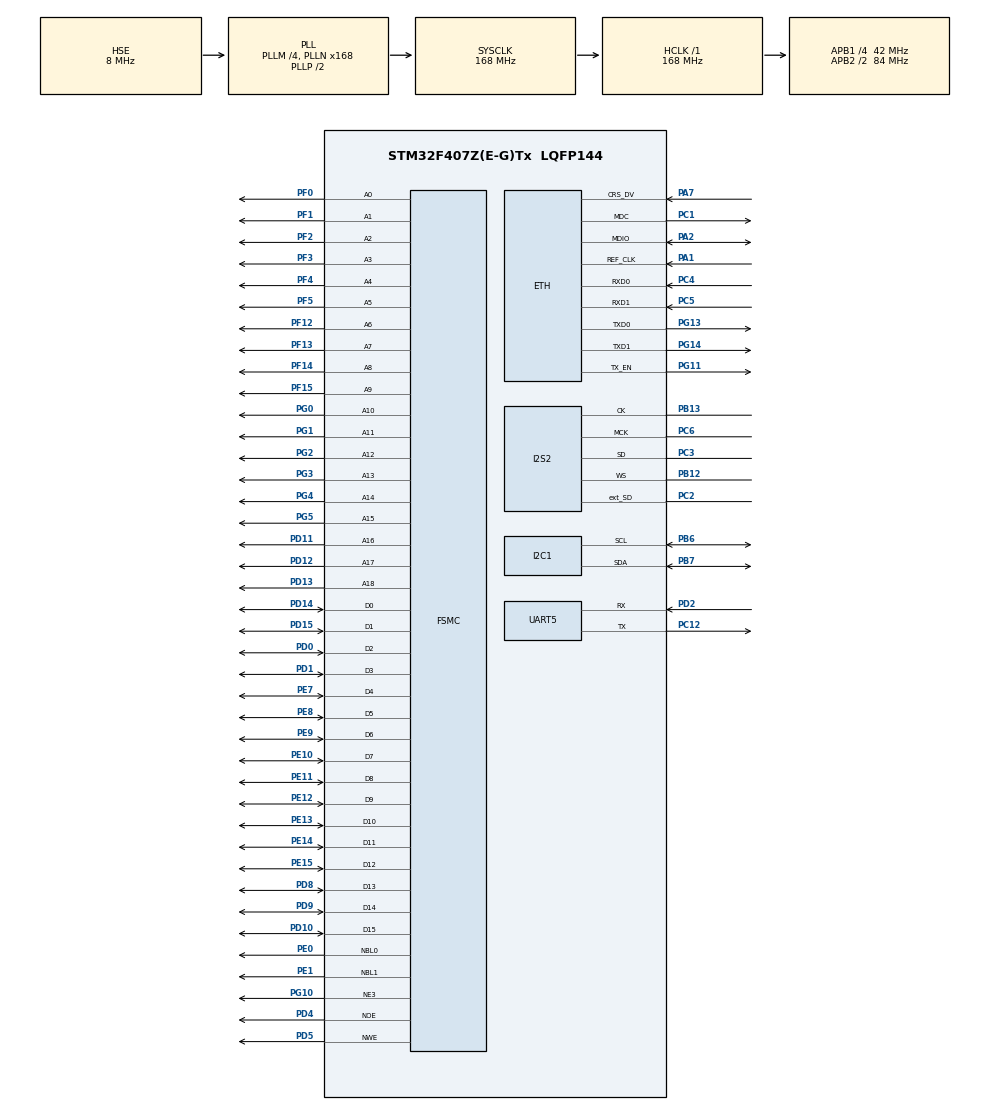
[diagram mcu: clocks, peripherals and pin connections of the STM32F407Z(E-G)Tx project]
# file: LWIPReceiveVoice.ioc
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Dma.Request0=SPI2_TX
Dma.SPI2_TX.0.Direction=DMA_MEMORY_TO_PERIPH
Dma.SPI2_TX.0.FIFOMode=DMA_FIFOMODE_ENABLE
Dma.SPI2_TX.0.FIFOThreshold=DMA_FIFO_THRESHOLD_FULL
Dma.SPI2_TX.0.Instance=DMA1_Stream4
Dma.SPI2_TX.0.MemBurst=DMA_MBURST_SINGLE
Dma.SPI2_TX.0.MemDataAlignment=DMA_MDATAALIGN_HALFWORD
Dma.SPI2_TX.0.MemInc=DMA_MINC_ENABLE
Dma.SPI2_TX.0.Mode=DMA_NORMAL
Dma.SPI2_TX.0.PeriphBurst=DMA_PBURST_SINGLE
Dma.SPI2_TX.0.PeriphDataAlignment=DMA_PDATAALIGN_HALFWORD
Dma.SPI2_TX.0.PeriphInc=DMA_PINC_DISABLE
Dma.SPI2_TX.0.Priority=DMA_PRIORITY_LOW
ETH.MediaInterface=ETH_MEDIA_INTERFACE_RMII
ETH.PHY_Name_RMII=DP83848_PHY_ADDRESS
FSMC.AddressSetupTime3=1
FSMC.BusTurnAroundDuration3=0
FSMC.DataSetupTime3=7
FSMC.WriteOperation3=FSMC_WRITE_OPERATION_ENABLE
I2S2.AudioFreq=I2S_AUDIOFREQ_16K
I2S2.ErrorAudioFreq=-0.26 %
I2S2.FullDuplexMode=I2S_FULLDUPLEXMODE_ENABLE
I2S2.Instance=SPI$Index
I2S2.RealAudioFreq=15.957 KHz
I2S2.VirtualMode=I2S_MODE_MASTER
LWIP.GATEWAY_ADDRESS=192.168.001.001
LWIP.IP_ADDRESS=192.168.001.200
LWIP.LWIP_DHCP=0
LWIP.MEMP_NUM_PBUF=50
LWIP.MEMP_NUM_TCP_SEG=1000
LWIP.MEM_SIZE=20*1024
LWIP.NETMASK_ADDRESS=255.255.255.000
LWIP.PBUF_POOL_BUFSIZE=1024
LWIP.TCP_MSS=1024
LWIP.TCP_SND_BUF=10240
LWIP.TCP_SND_QUEUELEN=1000
LWIP.TCP_WND=4096
LWIP.Version=v2.1.2_Cube
Mcu.Family=STM32F4
Mcu.Name=STM32F407Z(E-G)Tx
Mcu.Package=LQFP144
NVIC.DMA1_Stream4_IRQn=true\:2\:0\:true\:false\:true\:false\:true
NVIC.ETH_IRQn=true\:1\:0\:true\:false\:true\:true\:true
NVIC.PriorityGroup=NVIC_PRIORITYGROUP_4
PA1.Mode=RMII
PA1.Signal=ETH_REF_CLK
PA2.Mode=RMII
PA2.Signal=ETH_MDIO
PA7.Mode=RMII
PA7.Signal=ETH_CRS_DV
PB12.Mode=Full_Duplex_Master
PB12.Signal=I2S2_WS
PB13.Mode=Full_Duplex_Master
PB13.Signal=I2S2_CK
PB6.GPIO_Pu=GPIO_PULLUP
PB6.Mode=I2C
PB6.Signal=I2C1_SCL
PB7.GPIO_Pu=GPIO_PULLUP
PB7.Mode=I2C
PB7.Signal=I2C1_SDA
PC1.Mode=RMII
PC1.Signal=ETH_MDC
PC12.Mode=Asynchronous
PC12.Signal=UART5_TX
PC2.Mode=Full_Duplex_Master
PC2.Signal=I2S2_ext_SD
PC3.Mode=Full_Duplex_Master
PC3.Signal=I2S2_SD
PC4.Mode=RMII
PC4.Signal=ETH_RXD0
PC5.Mode=RMII
PC5.Signal=ETH_RXD1
PC6.Mode=Master_Clock_Activated
PC6.Signal=I2S2_MCK
PD0.Signal=FSMC_D2_DA2
PD1.Signal=FSMC_D3_DA3
PD10.Signal=FSMC_D15_DA15
PD11.Signal=FSMC_A16_CLE
PD12.Signal=FSMC_A17_ALE
PD13.Signal=FSMC_A18
PD14.Signal=FSMC_D0_DA0
PD15.Signal=FSMC_D1_DA1
PD2.Mode=Asynchronous
PD2.Signal=UART5_RX
PD4.Signal=FSMC_NOE
PD5.Signal=FSMC_NWE
PD8.Signal=FSMC_D13_DA13
PD9.Signal=FSMC_D14_DA14
PE0.Signal=FSMC_NBL0
PE1.Signal=FSMC_NBL1
PE10.Signal=FSMC_D7_DA7
PE11.Signal=FSMC_D8_DA8
PE12.Signal=FSMC_D9_DA9
PE13.Signal=FSMC_D10_DA10
PE14.Signal=FSMC_D11_DA11
PE15.Signal=FSMC_D12_DA12
PE7.Signal=FSMC_D4_DA4
PE8.Signal=FSMC_D5_DA5
PE9.Signal=FSMC_D6_DA6
PF0.Signal=FSMC_A0
PF1.Signal=FSMC_A1
PF12.Signal=FSMC_A6
PF13.Signal=FSMC_A7
PF14.Signal=FSMC_A8
PF15.Signal=FSMC_A9
PF2.Signal=FSMC_A2
PF3.Signal=FSMC_A3
PF4.Signal=FSMC_A4
PF5.Signal=FSMC_A5
PG0.Signal=FSMC_A10
PG1.Signal=FSMC_A11
PG10.Mode=NorPsramChipSelect3_3
PG10.Signal=FSMC_NE3
PG11.Mode=RMII
PG11.Signal=ETH_TX_EN
PG13.Mode=RMII
PG13.Signal=ETH_TXD0
PG14.Mode=RMII
PG14.Signal=ETH_TXD1
PG2.Signal=FSMC_A12
PG3.Signal=FSMC_A13
PG4.Signal=FSMC_A14
PG5.Signal=FSMC_A15
PH0-OSC_IN.Mode=HSE-External-Oscillator
PH0-OSC_IN.Signal=RCC_OSC_IN
PH1-OSC_OUT.Mode=HSE-External-Oscillator
PH1-OSC_OUT.Signal=RCC_OSC_OUT
ProjectManager.HeapSize=0x700
ProjectManager.StackSize=0x700
ProjectManager.TargetToolchain=STM32CubeIDE
RCC.48MHZClocksFreq_Value=48000000
RCC.AHBFreq_Value=168000000
RCC.APB1CLKDivider=RCC_HCLK_DIV4
RCC.APB1Freq_Value=42000000
RCC.APB1TimFreq_Value=84000000
RCC.APB2CLKDivider=RCC_HCLK_DIV2
RCC.APB2Freq_Value=84000000
RCC.APB2TimFreq_Value=168000000
RCC.CortexFreq_Value=168000000
RCC.HCLKFreq_Value=168000000
RCC.HSE_VALUE=8000000
RCC.HSI_VALUE=16000000
RCC.LSE_VALUE=32768
RCC.PLLM=4
RCC.PLLN=168
RCC.PLLQ=7
RCC.PLLSourceVirtual=RCC_PLLSOURCE_HSE
RCC.SYSCLKFreq_VALUE=168000000
RCC.SYSCLKSource=RCC_SYSCLKSOURCE_PLLCLK
RCC.VCOOutputFreq_Value=336000000
SH.FSMC_A0.0=FSMC_A0,19b-a3
SH.FSMC_A1.0=FSMC_A1,19b-a3
SH.FSMC_A10.0=FSMC_A10,19b-a3
SH.FSMC_A11.0=FSMC_A11,19b-a3
SH.FSMC_A12.0=FSMC_A12,19b-a3
SH.FSMC_A13.0=FSMC_A13,19b-a3
SH.FSMC_A14.0=FSMC_A14,19b-a3
SH.FSMC_A15.0=FSMC_A15,19b-a3
SH.FSMC_A16_CLE.0=FSMC_A16,19b-a3
SH.FSMC_A17_ALE.0=FSMC_A17,19b-a3
SH.FSMC_A18.0=FSMC_A18,19b-a3
SH.FSMC_A2.0=FSMC_A2,19b-a3
SH.FSMC_A3.0=FSMC_A3,19b-a3
SH.FSMC_A4.0=FSMC_A4,19b-a3
SH.FSMC_A5.0=FSMC_A5,19b-a3
SH.FSMC_A6.0=FSMC_A6,19b-a3
SH.FSMC_A7.0=FSMC_A7,19b-a3
SH.FSMC_A8.0=FSMC_A8,19b-a3
SH.FSMC_A9.0=FSMC_A9,19b-a3
SH.FSMC_D0_DA0.0=FSMC_D0,16b-d3
SH.FSMC_D10_DA10.0=FSMC_D10,16b-d3
SH.FSMC_D11_DA11.0=FSMC_D11,16b-d3
SH.FSMC_D12_DA12.0=FSMC_D12,16b-d3
SH.FSMC_D13_DA13.0=FSMC_D13,16b-d3
SH.FSMC_D14_DA14.0=FSMC_D14,16b-d3
SH.FSMC_D15_DA15.0=FSMC_D15,16b-d3
SH.FSMC_D1_DA1.0=FSMC_D1,16b-d3
SH.FSMC_D2_DA2.0=FSMC_D2,16b-d3
SH.FSMC_D3_DA3.0=FSMC_D3,16b-d3
SH.FSMC_D4_DA4.0=FSMC_D4,16b-d3
SH.FSMC_D5_DA5.0=FSMC_D5,16b-d3
SH.FSMC_D6_DA6.0=FSMC_D6,16b-d3
SH.FSMC_D7_DA7.0=FSMC_D7,16b-d3
SH.FSMC_D8_DA8.0=FSMC_D8,16b-d3
SH.FSMC_D9_DA9.0=FSMC_D9,16b-d3
SH.FSMC_NBL0.0=FSMC_NBL0,2ByteEnable3
SH.FSMC_NBL1.0=FSMC_NBL1,2ByteEnable3
SH.FSMC_NOE.0=FSMC_NOE,Sram3
SH.FSMC_NWE.0=FSMC_NWE,Sram3
UART5.VirtualMode=Asynchronous
VP_LWIP_VS_Enabled.Mode=Enabled
board=custom

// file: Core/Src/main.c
/* USER CODE BEGIN Header */
/**
 ******************************************************************************
 * @file           : main.c
 * @brief          : Main program body
 ******************************************************************************
 * @attention
 *
 * Copyright (c) 2025 STMicroelectronics.
 * All rights reserved.
 *
 * This software is licensed under terms that can be found in the LICENSE file
 * in the root directory of this software component.
 * If no LICENSE file comes with this software, it is provided AS-IS.
 *
 ******************************************************************************
 */
/* USER CODE END Header */
#include "main.h"
#include "lwip.h"

/* USER CODE BEGIN Includes */
#include "tcpServerRAW.h"
#include "audio_player.h"
#include <string.h>
/* USER CODE END Includes */

I2C_HandleTypeDef hi2c1;

I2S_HandleTypeDef hi2s2;
DMA_HandleTypeDef hdma_spi2_tx;

UART_HandleTypeDef huart5;

SRAM_HandleTypeDef hsram3;

void SystemClock_Config(void);
static void MX_GPIO_Init(void);
static void MX_UART5_Init(void);
static void MX_I2S2_Init(void);
static void MX_DMA_Init(void);
static void MX_I2C1_Init(void);
static void MX_FSMC_Init(void);

/* USER CODE BEGIN 0 */

#ifdef __GNUC__
  /* With GCC, small printf (option LD Linker->Libraries->Small printf
     set to 'Yes') calls __io_putchar() */
int __io_putchar(int ch)
#else
int fputc(int ch, FILE *f)
#endif /* __GNUC__ */
{
  /* Place your implementation of fputc here */
  /* e.g. write a character to the UART3 and Loop until the end of transmission */
  HAL_UART_Transmit(&huart5, (uint8_t *)&ch, 1, HAL_MAX_DELAY);
  return ch;
}

uint8_t wavsram[97000]  __attribute__((section(".sram")));

/* USER CODE END 0 */

int main(void)
{

  /* MCU Configuration--------------------------------------------------------*/

  /* Reset of all peripherals, Initializes the Flash interface and the Systick. */
  HAL_Init();

  /* Configure the system clock */
  SystemClock_Config();

  /* Initialize all configured peripherals */
  MX_GPIO_Init();
  MX_LWIP_Init();
  MX_UART5_Init();
  MX_DMA_Init();

  MX_I2S2_Init();
  MX_I2C1_Init();
  MX_FSMC_Init();
  /* USER CODE BEGIN 2 */
  printf("server\n");

   Audio_Player_Init();
   tcp_server_init();
  /* USER CODE END 2 */

  /* Infinite loop */
	while (1) {

    /* USER CODE BEGIN 3 */
		MX_LWIP_Process();

	}
  /* USER CODE END 3 */
}

void SystemClock_Config(void)
{
  RCC_OscInitTypeDef RCC_OscInitStruct = {0};
  RCC_ClkInitTypeDef RCC_ClkInitStruct = {0};

  /** Configure the main internal regulator output voltage
  */
  __HAL_RCC_PWR_CLK_ENABLE();
  __HAL_PWR_VOLTAGESCALING_CONFIG(PWR_REGULATOR_VOLTAGE_SCALE1);
  /** Initializes the RCC Oscillators according to the specified parameters
  * in the RCC_OscInitTypeDef structure.
  */
  RCC_OscInitStruct.OscillatorType = RCC_OSCILLATORTYPE_HSE;
  RCC_OscInitStruct.HSEState = RCC_HSE_ON;
  RCC_OscInitStruct.PLL.PLLState = RCC_PLL_ON;
  RCC_OscInitStruct.PLL.PLLSource = RCC_PLLSOURCE_HSE;
  RCC_OscInitStruct.PLL.PLLM = 4;
  RCC_OscInitStruct.PLL.PLLN = 168;
  RCC_OscInitStruct.PLL.PLLP = RCC_PLLP_DIV2;
  RCC_OscInitStruct.PLL.PLLQ = 7;
  if (HAL_RCC_OscConfig(&RCC_OscInitStruct) != HAL_OK)
  {
    Error_Handler();
  }
  /** Initializes the CPU, AHB and APB buses clocks
  */
  RCC_ClkInitStruct.ClockType = RCC_CLOCKTYPE_HCLK|RCC_CLOCKTYPE_SYSCLK
                              |RCC_CLOCKTYPE_PCLK1|RCC_CLOCKTYPE_PCLK2;
  RCC_ClkInitStruct.SYSCLKSource = RCC_SYSCLKSOURCE_PLLCLK;
  RCC_ClkInitStruct.AHBCLKDivider = RCC_SYSCLK_DIV1;
  RCC_ClkInitStruct.APB1CLKDivider = RCC_HCLK_DIV4;
  RCC_ClkInitStruct.APB2CLKDivider = RCC_HCLK_DIV2;

  if (HAL_RCC_ClockConfig(&RCC_ClkInitStruct, FLASH_LATENCY_5) != HAL_OK)
  {
    Error_Handler();
  }
}

static void MX_I2C1_Init(void)
{

  hi2c1.Instance = I2C1;
  hi2c1.Init.ClockSpeed = 100000;
  hi2c1.Init.DutyCycle = I2C_DUTYCYCLE_2;
  hi2c1.Init.OwnAddress1 = 0;
  hi2c1.Init.AddressingMode = I2C_ADDRESSINGMODE_7BIT;
  hi2c1.Init.DualAddressMode = I2C_DUALADDRESS_DISABLE;
  hi2c1.Init.OwnAddress2 = 0;
  hi2c1.Init.GeneralCallMode = I2C_GENERALCALL_DISABLE;
  hi2c1.Init.NoStretchMode = I2C_NOSTRETCH_DISABLE;
  if (HAL_I2C_Init(&hi2c1) != HAL_OK)
  {
    Error_Handler();
  }

}

static void MX_I2S2_Init(void)
{

  hi2s2.Instance = SPI2;
  hi2s2.Init.Mode = I2S_MODE_MASTER_TX;
  hi2s2.Init.Standard = I2S_STANDARD_PHILIPS;
  hi2s2.Init.DataFormat = I2S_DATAFORMAT_16B;
  hi2s2.Init.MCLKOutput = I2S_MCLKOUTPUT_ENABLE;
  hi2s2.Init.AudioFreq = I2S_AUDIOFREQ_16K;
  hi2s2.Init.CPOL = I2S_CPOL_LOW;
  hi2s2.Init.ClockSource = I2S_CLOCK_PLL;
  hi2s2.Init.FullDuplexMode = I2S_FULLDUPLEXMODE_ENABLE;
  if (HAL_I2S_Init(&hi2s2) != HAL_OK)
  {
    Error_Handler();
  }

}

static void MX_UART5_Init(void)
{

  huart5.Instance = UART5;
  huart5.Init.BaudRate = 115200;
  huart5.Init.WordLength = UART_WORDLENGTH_8B;
  huart5.Init.StopBits = UART_STOPBITS_1;
  huart5.Init.Parity = UART_PARITY_NONE;
  huart5.Init.Mode = UART_MODE_TX_RX;
  huart5.Init.HwFlowCtl = UART_HWCONTROL_NONE;
  huart5.Init.OverSampling = UART_OVERSAMPLING_16;
  if (HAL_UART_Init(&huart5) != HAL_OK)
  {
    Error_Handler();
  }

}

static void MX_DMA_Init(void)
{

  /* DMA controller clock enable */
  __HAL_RCC_DMA1_CLK_ENABLE();

  /* DMA interrupt init */
  /* DMA1_Stream4_IRQn interrupt configuration */
  HAL_NVIC_SetPriority(DMA1_Stream4_IRQn, 2, 0);
  HAL_NVIC_EnableIRQ(DMA1_Stream4_IRQn);

}

static void MX_GPIO_Init(void)
{

  /* GPIO Ports Clock Enable */
  __HAL_RCC_GPIOF_CLK_ENABLE();
  __HAL_RCC_GPIOH_CLK_ENABLE();
  __HAL_RCC_GPIOC_CLK_ENABLE();
  __HAL_RCC_GPIOA_CLK_ENABLE();
  __HAL_RCC_GPIOG_CLK_ENABLE();
  __HAL_RCC_GPIOE_CLK_ENABLE();
  __HAL_RCC_GPIOB_CLK_ENABLE();
  __HAL_RCC_GPIOD_CLK_ENABLE();

}

/* FSMC initialization function */
static void MX_FSMC_Init(void)
{

  FSMC_NORSRAM_TimingTypeDef Timing = {0};

  /** Perform the SRAM3 memory initialization sequence
  */
  hsram3.Instance = FSMC_NORSRAM_DEVICE;
  hsram3.Extended = FSMC_NORSRAM_EXTENDED_DEVICE;
  /* hsram3.Init */
  hsram3.Init.NSBank = FSMC_NORSRAM_BANK3;
  hsram3.Init.DataAddressMux = FSMC_DATA_ADDRESS_MUX_DISABLE;
  hsram3.Init.MemoryType = FSMC_MEMORY_TYPE_SRAM;
  hsram3.Init.MemoryDataWidth = FSMC_NORSRAM_MEM_BUS_WIDTH_16;
  hsram3.Init.BurstAccessMode = FSMC_BURST_ACCESS_MODE_DISABLE;
  hsram3.Init.WaitSignalPolarity = FSMC_WAIT_SIGNAL_POLARITY_LOW;
  hsram3.Init.WrapMode = FSMC_WRAP_MODE_DISABLE;
  hsram3.Init.WaitSignalActive = FSMC_WAIT_TIMING_BEFORE_WS;
  hsram3.Init.WriteOperation = FSMC_WRITE_OPERATION_ENABLE;
  hsram3.Init.WaitSignal = FSMC_WAIT_SIGNAL_DISABLE;
  hsram3.Init.ExtendedMode = FSMC_EXTENDED_MODE_DISABLE;
  hsram3.Init.AsynchronousWait = FSMC_ASYNCHRONOUS_WAIT_DISABLE;
  hsram3.Init.WriteBurst = FSMC_WRITE_BURST_DISABLE;
  hsram3.Init.PageSize = FSMC_PAGE_SIZE_NONE;
  /* Timing */
  Timing.AddressSetupTime = 1;
  Timing.AddressHoldTime = 15;
  Timing.DataSetupTime = 7;
  Timing.BusTurnAroundDuration = 0;
  Timing.CLKDivision = 16;
  Timing.DataLatency = 17;
  Timing.AccessMode = FSMC_ACCESS_MODE_A;
  /* ExtTiming */

  if (HAL_SRAM_Init(&hsram3, &Timing, NULL) != HAL_OK)
  {
    Error_Handler( );
  }

}

void Error_Handler(void)
{
	__disable_irq();
	while (1) {
	}
}
